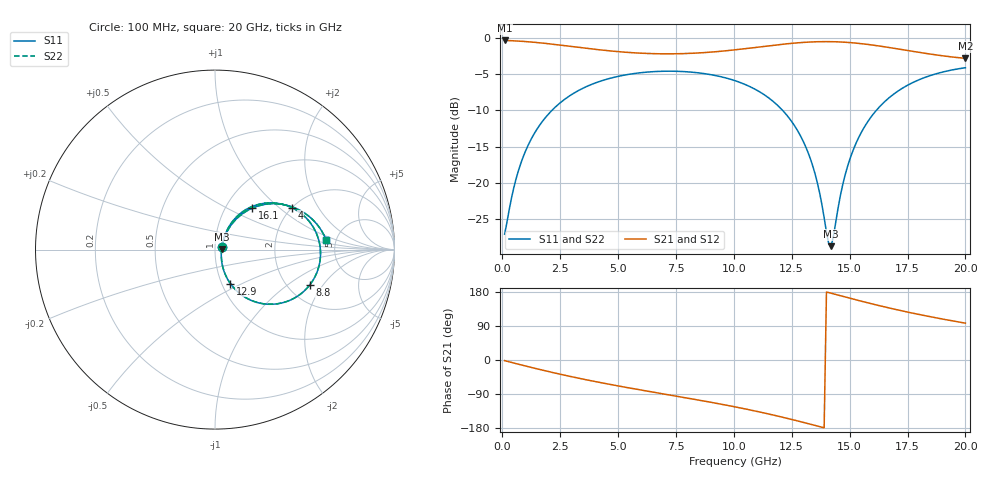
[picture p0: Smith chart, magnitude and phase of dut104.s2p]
! Touchstone file exported from HFSS 2026.1.0
!  File:  C:/ffzhzh/LocalFiles/Ansys_Project_Files/temp_train_TSV_RDL_104_1783044517_18316.aedt
!  Generated:  10:17:24 AM Jul  3, 2026
!  Design:  TSV_RDL
!  Project:  temp_train_TSV_RDL_104_1783044517_18316
! Variables:
!  h_bsmrdl = 2.32um
!  h_ox = 20um
!  h_rdl = 5um
!  h_sub = 69.48um
!  h_tmrdl = 5.73um
!  h_tsv = 69.48um
!  h_via = 3um
!  l_bsmrdl = 980.11um
!  l_sub = 4092.49um
!  l_tmrdl = 157.44um
!  m_sub = 200um
!  pitch = 46.27um
!  r_tsv = 14.49um
!  s_tmrdl = 10um
!  w_bsmrdl = 11um
!  w_sub = 500um
!  w_tmrdl = 29.8um
!  x_tsv_center1 = 172.34um
!  x_tsv_center2 = 1163.45um
!  x_tsv_center3 = 1350.69um
!  x_tsv_center4 = 2341.8um
!  x_tsv_center5 = 2529.04um
!  x_tsv_center6 = 3520.15um
# GHz S MA R 50.000000
! Terminal data exported
! Port[1] = TM_RDL1_1_T1
! Port[2] = TM_RDL5_1_T1
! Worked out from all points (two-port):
!   200 points, 100 MHz to 20 GHz, reference 50 ohm
!   highest |S21| = -0.36 dB at 100 MHz (marker M1); lowest = -2.8 dB at 20 GHz (marker M2)
!   |S21| within 3 dB of the highest: start of sweep to end of sweep
!   lowest |S11| = -28.7 dB at 14.2 GHz (marker M3), VSWR 1.08, Z = 53.8 + j0.2 ohm
!   |S11| at or under -10 dB: start of sweep to 2.145 GHz; 12.1 GHz to 16.16 GHz (4.05 GHz wide, 28.7 % of centre)
!   |S22| runs from -28.6 to -4.1 dB; largest |S21 - S12| = 1.6e-14
!   S11 on the Smith chart (normalised r, x): 100 MHz: 1.09, +0.03; 4 GHz: 1.99, +1.22; 8.8 GHz: 2.63, -1.50; 12.9 GHz: 1.10, -0.43; 16.1 GHz: 1.32, +0.67; 20 GHz: 4.16, +0.71
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0.1  0.04429 21.0  0.959 -1.6  0.959 -1.6  0.04429 21.0
! Gamma 0 0 0 0
! Port Impedance 50 0 50 0
0.6  0.1074 56.6  0.9517 -9.6  0.9517 -9.6  0.1074 56.6
1.3  0.2075 57.2  0.9341 -20.3  0.9341 -20.3  0.2075 57.2
2.2  0.3227 48.7  0.9025 -33.4  0.9025 -33.4  0.3227 48.7
3.5  0.4505 34.2  0.8515 -50.6  0.8515 -50.6  0.4505 34.2
4  0.4873 28.7  0.8334 -56.8  0.8334 -56.8  0.4873 28.7
6.8  0.5873 -0.1  0.776 -87.8  0.776 -87.8  0.5872 -0.1
8.8  0.5643 -20.2  0.7924 -109.2  0.7924 -109.2  0.5642 -20.2
10.1  0.5034 -34.2  0.8279 -124.3  0.8279 -124.3  0.5034 -34.2
11.7  0.3643 -52.8  0.8879 -145.2  0.8879 -145.2  0.3642 -52.7
12.9  0.2077 -65.7  0.9274 -163.0  0.9274 -163.0  0.2077 -65.6
13.4  0.132 -67.5  0.9373 -170.9  0.9373 -170.9  0.1321 -67.2
13.7  0.08604 -63.2  0.9406 -175.7  0.9406 -175.7  0.08622 -62.8
14.1  0.03789 -21.6  0.9413 177.8  0.9413 177.8  0.03846 -21.2
14.2  0.03663 2.9  0.9409 176.2  0.9409 176.2  0.03725 2.9
14.7  0.09685 54.2  0.9345 168.0  0.9345 168.0  0.09716 53.9
15  0.1441 56.9  0.9276 163.2  0.9276 163.2  0.1443 56.7
15.5  0.2219 54.4  0.9117 155.3  0.9117 155.3  0.2221 54.3
16.1  0.3088 48.2  0.8866 146.1  0.8866 146.1  0.309 48.1
16.7  0.3857 41.1  0.8578 137.4  0.8578 137.4  0.3858 41.1
18.1  0.5219 24.8  0.7892 118.9  0.7892 118.9  0.522 24.7
20  0.622 4.8  0.7219 97.2  0.7219 97.2  0.622 4.8
